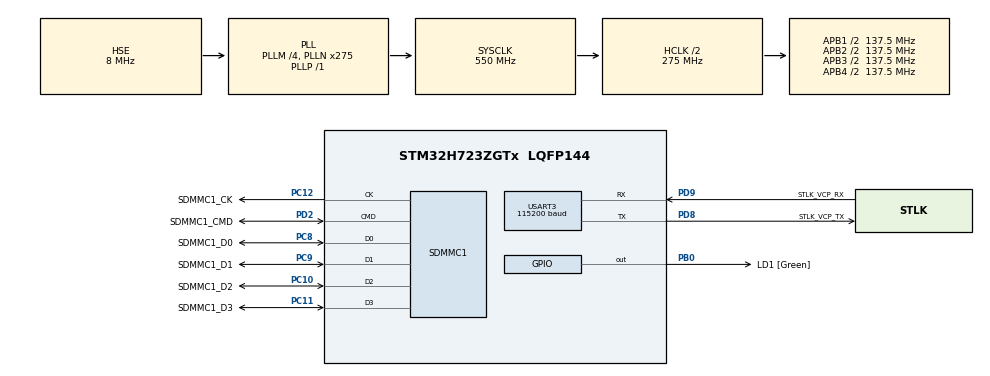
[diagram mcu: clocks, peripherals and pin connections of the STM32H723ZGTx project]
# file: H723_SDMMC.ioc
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Mcu.Family=STM32H7
Mcu.Name=STM32H723ZGTx
Mcu.Package=LQFP144
NVIC.PriorityGroup=NVIC_PRIORITYGROUP_4
NVIC.SDMMC1_IRQn=true\:5\:0\:true\:false\:true\:true\:true\:true
PA13\ (JTMS/SWDIO).GPIO_Label=TMS
PA13\ (JTMS/SWDIO).Mode=Serial_Wire
PA13\ (JTMS/SWDIO).Signal=SYS_JTMS-SWDIO
PA14\ (JTCK/SWCLK).GPIO_Label=TCK
PA14\ (JTCK/SWCLK).Mode=Serial_Wire
PA14\ (JTCK/SWCLK).Signal=SYS_JTCK-SWCLK
PB0.GPIO_Label=LD1 [Green]
PB0.PinState=GPIO_PIN_RESET
PB0.Signal=GPIO_Output
PC8.GPIO_Label=SDMMC1_D0
PC8.GPIO_PuPd=GPIO_PULLUP
PC8.GPIO_Speed=GPIO_SPEED_FREQ_VERY_HIGH
PC8.Mode=SD_4_bits_Wide_bus
PC8.Signal=SDMMC1_D0
PC9.GPIO_Label=SDMMC1_D1
PC9.GPIO_PuPd=GPIO_PULLUP
PC9.GPIO_Speed=GPIO_SPEED_FREQ_VERY_HIGH
PC9.Mode=SD_4_bits_Wide_bus
PC9.Signal=SDMMC1_D1
PC10.GPIO_Label=SDMMC1_D2
PC10.GPIO_PuPd=GPIO_PULLUP
PC10.GPIO_Speed=GPIO_SPEED_FREQ_VERY_HIGH
PC10.Mode=SD_4_bits_Wide_bus
PC10.Signal=SDMMC1_D2
PC11.GPIO_Label=SDMMC1_D3
PC11.GPIO_PuPd=GPIO_PULLUP
PC11.GPIO_Speed=GPIO_SPEED_FREQ_VERY_HIGH
PC11.Mode=SD_4_bits_Wide_bus
PC11.Signal=SDMMC1_D3
PC12.GPIO_Label=SDMMC1_CK
PC12.GPIO_Speed=GPIO_SPEED_FREQ_VERY_HIGH
PC12.Mode=SD_4_bits_Wide_bus
PC12.Signal=SDMMC1_CK
PD2.GPIO_Label=SDMMC1_CMD
PD2.GPIO_PuPd=GPIO_PULLUP
PD2.GPIO_Speed=GPIO_SPEED_FREQ_VERY_HIGH
PD2.Mode=SD_4_bits_Wide_bus
PD2.Signal=SDMMC1_CMD
PD8.GPIO_Label=STLK_VCP_TX
PD8.Mode=Asynchronous
PD8.Signal=USART3_TX
PD9.GPIO_Label=STLK_VCP_RX
PD9.Mode=Asynchronous
PD9.Signal=USART3_RX
PH0-OSC_IN\ (PH0).GPIO_Label=MCO
PH0-OSC_IN\ (PH0).Mode=HSE-External-Clock-Source
PH0-OSC_IN\ (PH0).Signal=RCC_OSC_IN
PWR.RegulatorVoltage=PWR_REGULATOR_VOLTAGE_SCALE0
PWR.SupplySource=PWR_LDO_SUPPLY
ProjectManager.HeapSize=0x2000
ProjectManager.StackSize=0x2000
ProjectManager.TargetToolchain=STM32CubeIDE
RCC.ADCFreq_Value=100000000
RCC.APB1Freq_Value=137500000
RCC.APB2Freq_Value=137500000
RCC.APB3Freq_Value=137500000
RCC.APB4Freq_Value=137500000
RCC.D1PPRE=RCC_APB3_DIV2
RCC.D2PPRE1=RCC_APB1_DIV2
RCC.D2PPRE2=RCC_APB2_DIV2
RCC.D3PPRE=RCC_APB4_DIV2
RCC.DIVM1=4
RCC.DIVM2=4
RCC.DIVN1=275
RCC.DIVN2=100
RCC.DIVP1=1
RCC.DIVP2=2
RCC.DIVQ1=5
RCC.DIVQ2=2
RCC.DIVR1=2
RCC.DIVR2=2
RCC.FDCANCLockSelection=RCC_FDCANCLKSOURCE_HSE
RCC.FLatency_Value=FLASH_LATENCY_3
RCC.HCLKFreq_Value=275000000
RCC.HPRE=RCC_HCLK_DIV2
RCC.HSE_VALUE=8000000
RCC.PLL2FRACN=0
RCC.PLL2RGE=RCC_PLL2VCIRANGE_0
RCC.PLL2VCOSEL=RCC_PLL2VCOMEDIUM
RCC.PLLFRACN=0
RCC.PLLRGE=RCC_PLL1VCIRANGE_0
RCC.PLLSourceVirtual=RCC_PLLSOURCE_HSE
RCC.SDMMCCLockSelection=RCC_SDMMCCLKSOURCE_PLL2
RCC.SYSCLKFreq_VALUE=550000000
RCC.SYSCLKSource=RCC_SYSCLKSOURCE_PLLCLK
RCC.VOSRANGE=PWR_REGULATOR_VOLTAGE_SCALE0
SDMMC1.ClockDiv=2
SDMMC1.ClockEdge=SDMMC_CLOCK_EDGE_RISING
SDMMC1.ClockPowerSave=SDMMC_CLOCK_POWER_SAVE_DISABLE
SDMMC1.HardwareFlowControl=SDMMC_HARDWARE_FLOW_CONTROL_DISABLE
SDMMC1.BusWide=SDMMC_BUS_WIDE_4B
USART3.BaudRate=115200
USART3.VirtualMode=VM_ASYNC
board=NUCLEO-H723ZG

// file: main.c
/* USER CODE BEGIN Header */
/**
  ******************************************************************************
  * @file           : main.c
  * @brief          : Main program body
  ******************************************************************************
  * @attention
  *
  * Copyright (c) 2026 STMicroelectronics.
  * All rights reserved.
  *
  * This software is licensed under terms that can be found in the LICENSE file
  * in the root directory of this software component.
  * If no LICENSE file comes with this software, it is provided AS-IS.
  *
  ******************************************************************************
  */
/* USER CODE END Header */
#include "main.h"
#include "fatfs.h"
#include "sdmmc.h"
#include "usart.h"
#include "gpio.h"

/* USER CODE BEGIN Includes */
#include<stdio.h>

/* USER CODE END Includes */

void SystemClock_Config(void);
static void MPU_Config(void);

/* USER CODE BEGIN 0 */
int __io_putchar(int ch)
{
    HAL_UART_Transmit(&huart3, (uint8_t *)&ch, 1, HAL_MAX_DELAY);
    return ch;
}

static FATFS fs;
static FIL   f;
static UINT  bw;

static void sd_test(void)
{
    FRESULT r = f_mount(&fs, "", 1);
    printf("hsd1 err=0x%lX state=%d\r\n",
           (unsigned long)hsd1.ErrorCode, (int)hsd1.State);
    printf("mount: %d\r\n", r);
    if (r != FR_OK) return;

    r = f_open(&f, "test.txt", FA_CREATE_ALWAYS | FA_WRITE);
    printf("open: %d\r\n", r);
    if (r != FR_OK) return;

    r = f_write(&f, "Hello H723\r\n", 12, &bw);
    printf("write: %d, bytes=%u\r\n", r, bw);

    r = f_close(&f);
    printf("close: %d\r\n", r);
}

/* USER CODE END 0 */

int main(void)
{

  /* MPU Configuration--------------------------------------------------------*/
  MPU_Config();

  /* MCU Configuration--------------------------------------------------------*/

  /* Reset of all peripherals, Initializes the Flash interface and the Systick. */
  HAL_Init();

  /* Configure the system clock */
  SystemClock_Config();

  /* Initialize all configured peripherals */
  MX_GPIO_Init();
  MX_SDMMC1_SD_Init();
  MX_USART3_UART_Init();
  MX_FATFS_Init();
  /* USER CODE BEGIN 2 */
  setvbuf(stdout, NULL, _IONBF, 0);
  printf("SD test start\r\n");
  sd_test();
  printf("SD test done\r\n");

  /* USER CODE END 2 */

  /* Infinite loop */
  while (1)
  {

  }
}

void SystemClock_Config(void)
{
  RCC_OscInitTypeDef RCC_OscInitStruct = {0};
  RCC_ClkInitTypeDef RCC_ClkInitStruct = {0};

  /** Supply configuration update enable
  */
  HAL_PWREx_ConfigSupply(PWR_LDO_SUPPLY);

  /** Configure the main internal regulator output voltage
  */
  __HAL_PWR_VOLTAGESCALING_CONFIG(PWR_REGULATOR_VOLTAGE_SCALE0);

  while(!__HAL_PWR_GET_FLAG(PWR_FLAG_VOSRDY)) {}

  /** Initializes the RCC Oscillators according to the specified parameters
  * in the RCC_OscInitTypeDef structure.
  */
  RCC_OscInitStruct.OscillatorType = RCC_OSCILLATORTYPE_HSE;
  RCC_OscInitStruct.HSEState = RCC_HSE_BYPASS;
  RCC_OscInitStruct.PLL.PLLState = RCC_PLL_ON;
  RCC_OscInitStruct.PLL.PLLSource = RCC_PLLSOURCE_HSE;
  RCC_OscInitStruct.PLL.PLLM = 4;
  RCC_OscInitStruct.PLL.PLLN = 275;
  RCC_OscInitStruct.PLL.PLLP = 1;
  RCC_OscInitStruct.PLL.PLLQ = 5;
  RCC_OscInitStruct.PLL.PLLR = 2;
  RCC_OscInitStruct.PLL.PLLRGE = RCC_PLL1VCIRANGE_1;
  RCC_OscInitStruct.PLL.PLLVCOSEL = RCC_PLL1VCOWIDE;
  RCC_OscInitStruct.PLL.PLLFRACN = 0;
  if (HAL_RCC_OscConfig(&RCC_OscInitStruct) != HAL_OK)
  {
    Error_Handler();
  }

  /** Initializes the CPU, AHB and APB buses clocks
  */
  RCC_ClkInitStruct.ClockType = RCC_CLOCKTYPE_HCLK|RCC_CLOCKTYPE_SYSCLK
                              |RCC_CLOCKTYPE_PCLK1|RCC_CLOCKTYPE_PCLK2
                              |RCC_CLOCKTYPE_D3PCLK1|RCC_CLOCKTYPE_D1PCLK1;
  RCC_ClkInitStruct.SYSCLKSource = RCC_SYSCLKSOURCE_PLLCLK;
  RCC_ClkInitStruct.SYSCLKDivider = RCC_SYSCLK_DIV1;
  RCC_ClkInitStruct.AHBCLKDivider = RCC_HCLK_DIV2;
  RCC_ClkInitStruct.APB3CLKDivider = RCC_APB3_DIV2;
  RCC_ClkInitStruct.APB1CLKDivider = RCC_APB1_DIV2;
  RCC_ClkInitStruct.APB2CLKDivider = RCC_APB2_DIV2;
  RCC_ClkInitStruct.APB4CLKDivider = RCC_APB4_DIV2;

  if (HAL_RCC_ClockConfig(&RCC_ClkInitStruct, FLASH_LATENCY_3) != HAL_OK)
  {
    Error_Handler();
  }
}

 /* MPU Configuration */

void MPU_Config(void)
{
  MPU_Region_InitTypeDef MPU_InitStruct = {0};

  /* Disables the MPU */
  HAL_MPU_Disable();

  /** Initializes and configures the Region and the memory to be protected
  */
  MPU_InitStruct.Enable = MPU_REGION_ENABLE;
  MPU_InitStruct.Number = MPU_REGION_NUMBER0;
  MPU_InitStruct.BaseAddress = 0x0;
  MPU_InitStruct.Size = MPU_REGION_SIZE_4GB;
  MPU_InitStruct.SubRegionDisable = 0x87;
  MPU_InitStruct.TypeExtField = MPU_TEX_LEVEL0;
  MPU_InitStruct.AccessPermission = MPU_REGION_NO_ACCESS;
  MPU_InitStruct.DisableExec = MPU_INSTRUCTION_ACCESS_DISABLE;
  MPU_InitStruct.IsShareable = MPU_ACCESS_SHAREABLE;
  MPU_InitStruct.IsCacheable = MPU_ACCESS_NOT_CACHEABLE;
  MPU_InitStruct.IsBufferable = MPU_ACCESS_NOT_BUFFERABLE;

  HAL_MPU_ConfigRegion(&MPU_InitStruct);
  /* Enables the MPU */
  HAL_MPU_Enable(MPU_PRIVILEGED_DEFAULT);

}

void Error_Handler(void)
{
  __disable_irq();
  while (1)
  {
  }
}
